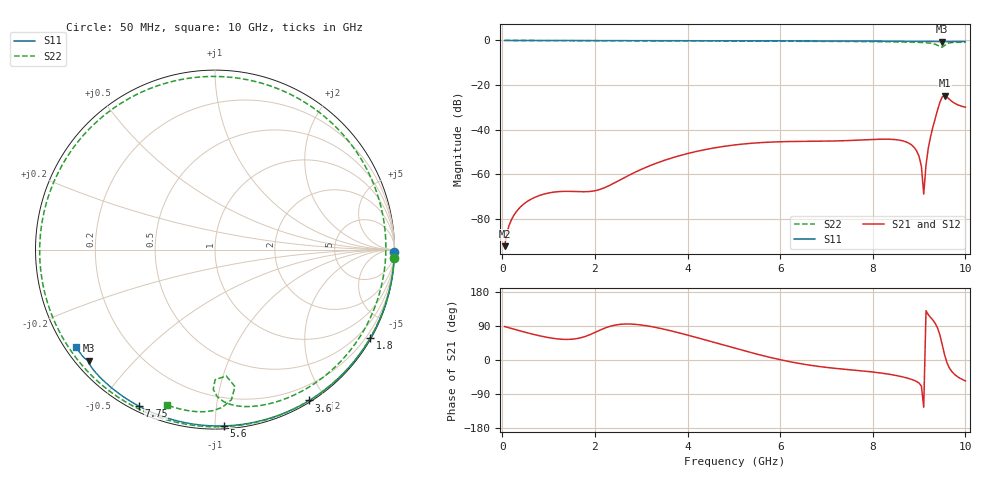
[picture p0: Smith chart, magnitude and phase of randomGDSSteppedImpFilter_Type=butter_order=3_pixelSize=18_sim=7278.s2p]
! freq	dB(S11)	phase(S11)	dB(S12)	phase(S12)
!  dB(S21)	phase(S21)	dB(S22)	phase(S22)
!S-par simulation data
#  GHz  S  DB  R 50
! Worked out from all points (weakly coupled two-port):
!   200 points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, 50 MHz to 10 GHz, reference 50 ohm
!   highest |S21| = -24.69 dB at 9.55 GHz (marker M1); lowest = -92.2 dB at 50 MHz (marker M2)
!   lowest |S11| = -0.6 dB at 9.5 GHz (marker M3), VSWR 30.73, Z = 1.86 - j18.9 ohm
!   |S11| at or under -10 dB: nowhere
!   |S22| runs from -3.0 to 0.0 dB; largest |S21 - S12| = 0
!   S11 on the Smith chart (normalised r, x): 50 MHz: open; 1.8 GHz: 0.03, -3.77; 3.6 GHz: 0.02, -1.80; 5.6 GHz: 0.02, -1.05; 7.75 GHz: 0.02, -0.62; 10 GHz: 0.03, -0.31
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0.05  -0.00 -0.8  -92.16 88.3  -92.16 88.3  -0.00 -2.7
0.2  -0.00 -3.4  -80.20 83.1  -80.20 83.1  -0.02 -10.8
0.8  -0.02 -13.3  -69.47 64.0  -69.47 64.0  -0.06 -42.8
1.75  -0.04 -28.9  -67.78 60.5  -67.78 60.5  -0.11 -91.1
1.8  -0.04 -29.7  -67.77 62.5  -67.77 62.5  -0.11 -93.6
2.5  -0.05 -40.9  -62.97 93.4  -62.97 93.4  -0.15 -127.2
3.4  -0.07 -54.9  -54.44 83.7  -54.44 83.7  -0.19 -169.2
3.6  -0.08 -58.0  -53.03 78.2  -53.03 78.2  -0.20 -178.5
4.3  -0.10 -68.5  -49.24 55.8  -49.24 55.8  -0.24 148.4
5.05  -0.12 -79.3  -46.73 30.1  -46.73 30.1  -0.29 111.7
5.6  -0.14 -87.1  -45.74 12.3  -45.74 12.3  -0.32 84.1
6.7  -0.20 -102.1  -45.16 -14.8  -45.16 -14.8  -0.38 29.0
7.75  -0.27 -116.0  -44.60 -28.5  -44.60 -28.5  -0.48 -19.8
8.35  -0.32 -123.8  -44.25 -37.5  -44.25 -37.5  -0.58 -45.5
8.95  -0.38 -131.6  -49.59 -57.0  -49.59 -57.0  -0.81 -70.6
9.05  -0.39 -132.9  -56.43 -68.7  -56.43 -68.7  -0.89 -74.9
9.1  -0.40 -133.6  -68.81 -124.6  -68.81 -124.6  -0.95 -77.1
9.15  -0.40 -134.3  -55.75 130.2  -55.75 130.2  -1.02 -79.4
9.2  -0.41 -135.0  -48.10 119.2  -48.10 119.2  -1.11 -81.8
9.5  -0.57 -138.6  -25.31 40.5  -25.31 40.5  -3.01 -84.9
9.55  -0.55 -138.9  -24.69 14.0  -24.69 14.0  -2.25 -81.7
10  -0.49 -145.2  -29.87 -55.2  -29.87 -55.2  -0.86 -107.2
